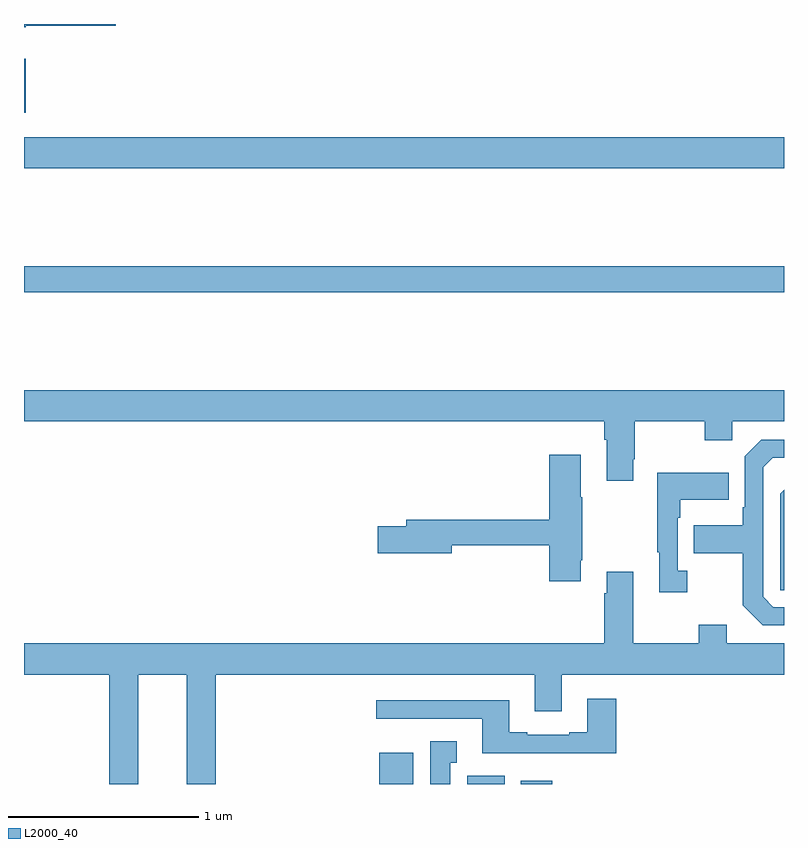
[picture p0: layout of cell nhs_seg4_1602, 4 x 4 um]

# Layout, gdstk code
import gdstk
lib = gdstk.Library(unit=1e-6, precision=1e-09)
def R(c, l, rs):  # rectangles x0, y0, x1, y1
    for r in rs: c.add(gdstk.rectangle(r[:2], r[2:], *l))
def P(c, l, *ps):  # polygons
    for p in ps: c.add(gdstk.Polygon(p, *l))
L2000_40 = (2000, 40)

nhs_seg4_1602 = lib.new_cell('nhs_seg4_1602')
R(nhs_seg4_1602, L2000_40, [(194.87,806.9,195.049,807.064), (195.332,806.9,195.529,806.944), (195.614,806.9,195.781,806.917), (193,809.488,197,809.624), (193,810.14,197,810.304), (193,810.432,193.01,810.718)])
P(nhs_seg4_1602, L2000_40, [(193.008,810.89),(193.483,810.89),(193.483,810.9),(193,810.9),(193,810.884),(193.008,810.884)],
  [(196.207,808.609),(196.215,808.609),(196.215,808.808),(196.582,808.808),(196.582,808.709),(196.728,808.709),(196.728,808.808),(197,808.808),(197,808.972),(193,808.972),(193,808.808),(196.055,808.808),(196.055,808.712),(196.067,808.712),(196.067,808.497),(196.207,808.497)],
  [(197,807.831),(196.944,807.831),(196.89,807.885),(196.89,808.566),(196.941,808.617),(197,808.617),(197,808.713),(196.881,808.713),(196.794,808.626),(196.794,808.357),(196.782,808.357),(196.782,808.261),(196.525,808.261),(196.525,808.114),(196.782,808.114),(196.782,807.841),(196.887,807.735),(197,807.735)],
  [(195.931,808.078),(195.939,808.078),(195.939,808.409),(195.931,808.409),(195.931,808.633),(195.764,808.633),(195.764,808.292),(195.011,808.292),(195.011,808.256),(194.862,808.256),(194.862,808.114),(195.25,808.114),(195.25,808.156),(195.764,808.156),(195.764,807.966),(195.931,807.966)],
  [(196.492,808.022),(196.44,808.022),(196.44,808.301),(196.453,808.301),(196.453,808.397),(196.709,808.397),(196.709,808.537),(196.332,808.537),(196.332,808.121),(196.343,808.121),(196.343,807.909),(196.492,807.909)],
  [(197,808.448),(196.98,808.428),(196.98,807.921),(197,807.921)],
  [(193.6,807.476),(193.856,807.476),(193.856,806.9),(194.009,806.9),(194.009,807.476),(195.689,807.476),(195.689,807.282),(195.829,807.282),(195.829,807.476),(197,807.476),(197,807.64),(196.699,807.64),(196.699,807.739),(196.552,807.739),(196.552,807.64),(196.207,807.64),(196.207,808.018),(196.067,808.018),(196.067,807.905),(196.055,807.905),(196.055,807.64),(193,807.64),(193,807.476),(193.448,807.476),(193.448,806.9),(193.6,806.9)],
  [(196.118,807.349),(195.965,807.349),(195.965,807.172),(195.869,807.172),(195.869,807.159),(195.649,807.159),(195.649,807.172),(195.553,807.172),(195.553,807.34),(194.853,807.34),(194.853,807.243),(195.413,807.243),(195.413,807.062),(196.118,807.062)],
  [(195.244,807.011),(195.277,807.011),(195.277,807.124),(195.137,807.124),(195.137,806.9),(195.244,806.9)])

lib.write_gds('nhs_seg4_1602.gds')
